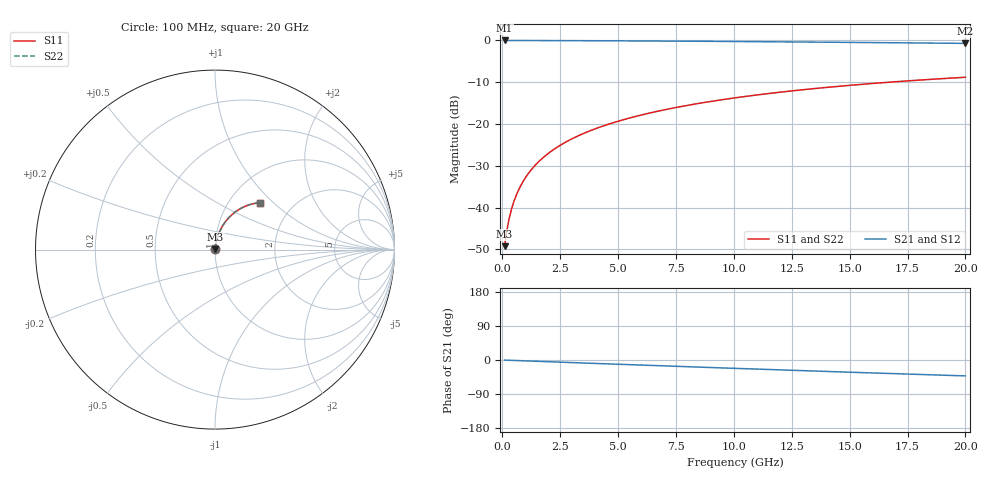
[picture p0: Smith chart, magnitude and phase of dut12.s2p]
! Touchstone file exported from HFSS 2026.1.0
!  File:  C:/ffzhzh/LocalFiles/Ansys_Project_Files/temp_test_TMRDL_12_1782906998_42304.aedt
!  Generated:  07:57:59 PM Jul  1, 2026
!  Design:  TMRDL
!  Project:  temp_test_TMRDL_12_1782906998_42304
! Variables:
!  h_bsmrdl = 2um
!  h_ox = 20um
!  h_rdl = 5um
!  h_sub = 80um
!  h_tmrdl = 5.98um
!  h_tsv = 80um
!  h_via = 3um
!  l_bsmrdl = 300um
!  l_sub = 1047.19um
!  l_tmrdl = 647.19um
!  m_sub = 200um
!  pitch = 38.92um
!  r_tsv = 6um
!  s_tmrdl = 10um
!  w_bsmrdl = 18um
!  w_sub = 500um
!  w_tmrdl = 16.13um
!  x_tsv_center1 = 655.255um
!  x_tsv_center2 = 973.255um
!  x_tsv_center3 = 1636.575um
!  x_tsv_center4 = 1954.575um
!  x_tsv_center5 = 2617.895um
!  x_tsv_center6 = 2935.895um
# GHz S MA R 50.000000
! Terminal data exported
! Port[1] = TM_RDL1_1_T1
! Port[2] = TM_RDL1_1_T2
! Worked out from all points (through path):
!   200 points, 100 MHz to 20 GHz, reference 50 ohm
!   highest |S21| = -0.02 dB at 100 MHz (marker M1); lowest = -0.7 dB at 20 GHz (marker M2)
!   group delay of S21, straight-line fit = 5.82 ps
!   lowest |S11| = -49.2 dB at 100 MHz (marker M3), VSWR 1.01, Z = 50.2 + j0.242 ohm
!   |S11| at or under -10 dB: start of sweep to 16.71 GHz
!   |S22| runs from -49.2 to -8.8 dB; largest |S21 - S12| = 2.3e-15
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0.1  0.003465 44.0  0.9975 -0.2  0.9975 -0.2  0.003465 44.0
! Gamma 0 0 0 0
! Port Impedance 50 0 50 0
0.2  0.005405 60.7  0.9974 -0.5  0.9974 -0.5  0.005405 60.7
0.3  0.007497 68.1  0.9973 -0.7  0.9973 -0.7  0.007497 68.1
0.4  0.009636 72.3  0.9972 -0.9  0.9972 -0.9  0.009636 72.3
0.5  0.0118 74.9  0.9971 -1.2  0.9971 -1.2  0.0118 74.9
0.6  0.01399 76.6  0.997 -1.4  0.997 -1.4  0.01399 76.6
0.8  0.0184 78.7  0.9968 -1.8  0.9968 -1.8  0.0184 78.7
1.1  0.02504 80.2  0.9965 -2.5  0.9965 -2.5  0.02504 80.2
1.3  0.02946 80.5  0.9962 -3.0  0.9962 -3.0  0.02946 80.5
1.5  0.03388 80.7  0.996 -3.4  0.996 -3.4  0.03388 80.7
1.8  0.04047 80.6  0.9955 -4.1  0.9955 -4.1  0.04047 80.6
2.1  0.04702 80.3  0.9949 -4.8  0.9949 -4.8  0.04702 80.3
2.7  0.05998 79.5  0.9937 -6.2  0.9937 -6.2  0.05998 79.5
3.5  0.07695 78.1  0.9917 -7.9  0.9917 -7.9  0.07695 78.1
4.2  0.09154 76.8  0.9899 -9.5  0.9899 -9.5  0.09154 76.8
5  0.1079 75.2  0.9876 -11.2  0.9876 -11.2  0.1079 75.2
6.8  0.1439 71.7  0.9817 -15.2  0.9817 -15.2  0.1439 71.7
8.3  0.1729 68.8  0.9763 -18.4  0.9763 -18.4  0.1729 68.8
10.1  0.2064 65.2  0.969 -22.2  0.969 -22.2  0.2064 65.2
13.4  0.264 58.7  0.9539 -29.0  0.9539 -29.0  0.264 58.7
16.7  0.3161 52.4  0.9373 -35.6  0.9373 -35.6  0.3161 52.3
20  0.3621 46.2  0.9201 -42.0  0.9201 -42.0  0.3621 46.2
